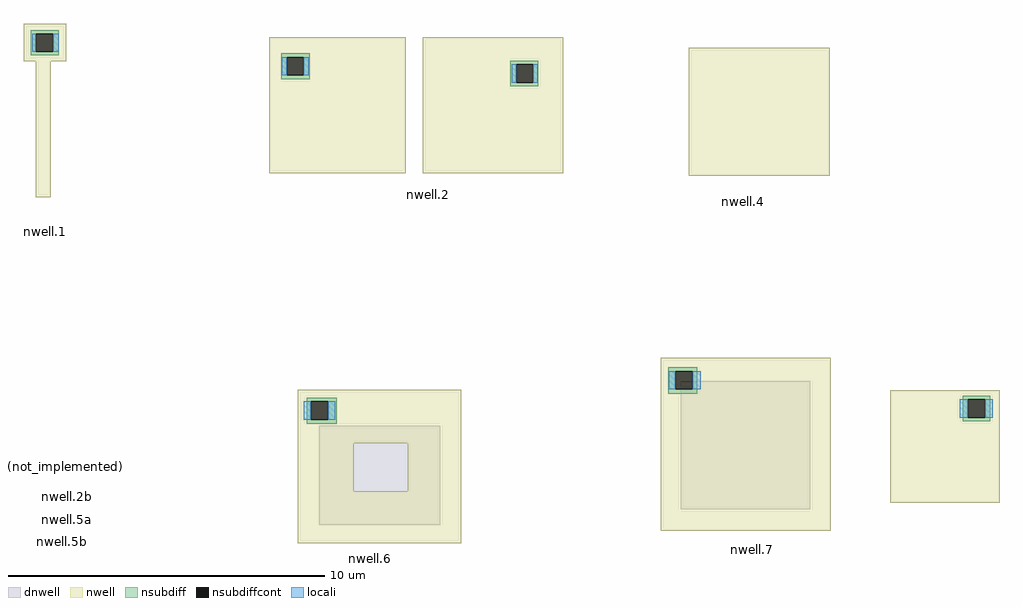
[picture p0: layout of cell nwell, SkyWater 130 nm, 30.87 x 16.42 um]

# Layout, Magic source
magic
tech sky130A
magscale 1 2
<< dnwell >>
rect 1657 -1285 2421 -659
rect 3943 -1187 4763 -377
<< nwell >>
rect -215 1648 54 1883
rect -136 786 -44 1648
rect 1340 938 2204 1798
rect 2312 938 3198 1798
rect 3994 922 4884 1732
rect 1519 -769 2555 -430
rect 1519 -1073 1875 -769
rect 2215 -1073 2555 -769
rect 1519 -1401 2555 -1073
rect 3815 -1323 4891 -229
rect 5269 -1147 5959 -433
<< nsubdiff >>
rect -168 1822 9 1844
rect -168 1707 -136 1822
rect -26 1707 9 1822
rect -168 1684 9 1707
rect 1414 1673 1596 1697
rect 1414 1558 1449 1673
rect 1559 1558 1596 1673
rect 1414 1534 1596 1558
rect 2864 1627 3042 1651
rect 2864 1512 2901 1627
rect 3011 1512 3042 1627
rect 2864 1489 3042 1512
rect 3864 -314 4047 -289
rect 3864 -429 3907 -314
rect 4017 -429 4047 -314
rect 3864 -458 4047 -429
rect 1578 -505 1765 -482
rect 1578 -620 1603 -505
rect 1713 -620 1765 -505
rect 1578 -647 1765 -620
rect 5727 -492 5902 -470
rect 5727 -607 5758 -492
rect 5868 -607 5902 -492
rect 5727 -631 5902 -607
<< nsubdiffcont >>
rect -136 1707 -26 1822
rect 1449 1558 1559 1673
rect 2901 1512 3011 1627
rect 3907 -429 4017 -314
rect 1603 -620 1713 -505
rect 5758 -607 5868 -492
<< locali >>
rect -161 1707 -136 1822
rect -26 1707 9 1822
rect -161 1706 9 1707
rect 1419 1558 1449 1673
rect 1559 1558 1588 1673
rect 2872 1627 3039 1628
rect 2872 1512 2901 1627
rect 3011 1512 3039 1627
rect 3867 -429 3907 -314
rect 4017 -429 4069 -314
rect 5707 -492 5916 -491
rect 1558 -620 1603 -505
rect 1713 -620 1756 -505
rect 5707 -607 5758 -492
rect 5868 -607 5916 -492
rect 5707 -608 5916 -607
<< labels >>
flabel comment s 50 -918 50 -918 0 FreeSans 560 0 0 0 (not_implemented)
flabel comment s 292 2248 292 2248 0 FreeSans 800 0 0 0 Nwell
flabel comment s 2350 802 2350 802 0 FreeSans 560 0 0 0 nwell.2
flabel comment s -78 572 -78 572 0 FreeSans 560 0 0 0 nwell.1
flabel comment s 64 -1108 64 -1108 0 FreeSans 560 0 0 0 nwell.2b
flabel comment s 4340 762 4340 762 0 FreeSans 560 0 0 0 nwell.4
flabel comment s 58 -1252 58 -1252 0 FreeSans 560 0 0 0 nwell.5a
flabel comment s 34 -1390 34 -1390 0 FreeSans 560 0 0 0 nwell.5b
flabel comment s 1983 -1497 1983 -1497 0 FreeSans 560 0 0 0 nwell.6
flabel comment s 4397 -1443 4397 -1443 0 FreeSans 560 0 0 0 nwell.7
<< end >>
